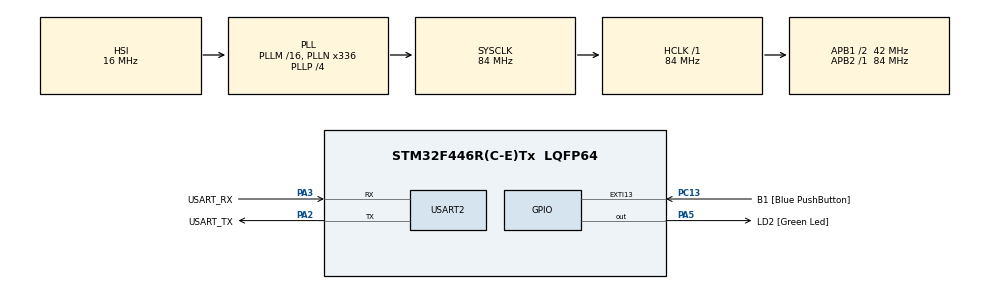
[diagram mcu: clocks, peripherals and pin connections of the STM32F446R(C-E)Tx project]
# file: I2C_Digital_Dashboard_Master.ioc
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Mcu.Family=STM32F4
Mcu.Name=STM32F446R(C-E)Tx
Mcu.Package=LQFP64
NVIC.PriorityGroup=NVIC_PRIORITYGROUP_0
PA13.GPIO_Label=TMS
PA13.Mode=Serial_Wire
PA13.Signal=SYS_JTMS-SWDIO
PA14.GPIO_Label=TCK
PA14.Mode=Serial_Wire
PA14.Signal=SYS_JTCK-SWCLK
PA2.GPIO_Label=USART_TX
PA2.Mode=Asynchronous
PA2.Signal=USART2_TX
PA3.GPIO_Label=USART_RX
PA3.Mode=Asynchronous
PA3.Signal=USART2_RX
PA5.GPIO_Label=LD2 [Green Led]
PA5.Signal=GPIO_Output
PB3.GPIO_Label=SWO
PB3.Signal=SYS_JTDO-SWO
PC13.GPIO_Label=B1 [Blue PushButton]
PC13.GPIO_ModeDefaultEXTI=GPIO_MODE_IT_FALLING
PC13.Signal=GPXTI13
PC14-OSC32_IN.Mode=LSE-External-Oscillator
PC14-OSC32_IN.Signal=RCC_OSC32_IN
PC15-OSC32_OUT.Mode=LSE-External-Oscillator
PC15-OSC32_OUT.Signal=RCC_OSC32_OUT
PH0-OSC_IN.Mode=HSE-External-Oscillator
PH0-OSC_IN.Signal=RCC_OSC_IN
PH1-OSC_OUT.Mode=HSE-External-Oscillator
PH1-OSC_OUT.Signal=RCC_OSC_OUT
ProjectManager.HeapSize=0x200
ProjectManager.StackSize=0x400
ProjectManager.TargetToolchain=STM32CubeIDE
RCC.48MHZClocksFreq_Value=84000000
RCC.AHBFreq_Value=84000000
RCC.APB1CLKDivider=RCC_HCLK_DIV2
RCC.APB1Freq_Value=42000000
RCC.APB1TimFreq_Value=84000000
RCC.APB2Freq_Value=84000000
RCC.APB2TimFreq_Value=84000000
RCC.CortexFreq_Value=84000000
RCC.FLatency-AdvancedSettings=FLASH_LATENCY_2
RCC.HCLKFreq_Value=84000000
RCC.HSE_VALUE=8000000
RCC.HSI_VALUE=16000000
RCC.PLLN=336
RCC.PLLP=RCC_PLLP_DIV4
RCC.SYSCLKFreq_VALUE=84000000
RCC.SYSCLKSource=RCC_SYSCLKSOURCE_PLLCLK
RCC.USBFreq_Value=168000000
RCC.VCOOutputFreq_Value=336000000
USART2.VirtualMode=VM_ASYNC
board=NUCLEO-F446RE

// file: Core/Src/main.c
/* USER CODE BEGIN Header */
/**
  ******************************************************************************
  * @file           : main.c
  * @brief          : Main program body
  ******************************************************************************
  * @attention
  *
  * Copyright (c) 2026 STMicroelectronics.
  * All rights reserved.
  *
  * This software is licensed under terms that can be found in the LICENSE file
  * in the root directory of this software component.
  * If no LICENSE file comes with this software, it is provided AS-IS.
  *
  ******************************************************************************
  */
/* USER CODE END Header */
#include "main.h"

/* USER CODE BEGIN Includes */
#include "stm32f4xx.h"

/* USER CODE END Includes */

/* USER CODE BEGIN PD */
#define SLAVE_ADDRESS 0x12
/* USER CODE END PD */

UART_HandleTypeDef huart2;

void SystemClock_Config(void);
static void MX_GPIO_Init(void);
static void MX_USART2_UART_Init(void);

/* USER CODE BEGIN 0 */
void I2C1_Init(void) {
    // 1. Enable Clocks for GPIOB and I2C1
    RCC->AHB1ENR |= RCC_AHB1ENR_GPIOBEN;
    RCC->APB1ENR |= RCC_APB1ENR_I2C1EN;

    // 2. Configure GPIOB Pins 8 (SCL) and 9 (SDA) for Alternate Function Open-Drain
    GPIOB->MODER &= ~(GPIO_MODER_MODER8 | GPIO_MODER_MODER9);
    GPIOB->MODER |= (GPIO_MODER_MODER8_1 | GPIO_MODER_MODER9_1); // AF mode
    GPIOB->OTYPER |= (GPIO_OTYPER_OT8 | GPIO_OTYPER_OT9);        // Open Drain
    GPIOB->OSPEEDR |= (GPIO_OSPEEDER_OSPEEDR8 | GPIO_OSPEEDER_OSPEEDR9); // High speed
    GPIOB->PUPDR &= ~(GPIO_PUPDR_PUPD8 | GPIO_PUPDR_PUPD9);      // No internal pull-ups (relying on external 4.7k)
    GPIOB->PUPDR |= (GPIO_PUPDR_PUPD8_0 | GPIO_PUPDR_PUPD9_0); // Enables internal pull-ups

    // Set Alternate Function 4 (AF4) for I2C1
    GPIOB->AFR[1] &= ~((0xF << 0) | (0xF << 4));
    GPIOB->AFR[1] |= ((4 << 0) | (4 << 4));

    // 3. Configure I2C1 Peripheral (Assuming 16MHz default HSI Clock)
    I2C1->CR1 |= I2C_CR1_SWRST;
    I2C1->CR1 &= ~I2C_CR1_SWRST;

    I2C1->CR2 &= ~I2C_CR2_FREQ;
    I2C1->CR2 |= 16;              // APB1 freq = 16 MHz

    I2C1->CCR &= ~I2C_CCR_CCR;
    I2C1->CCR |= 80;              // 16MHz / (2 * 100kHz) = 80

    I2C1->TRISE = 17;             // (1000ns / 62.5ns) + 1 = 17

    I2C1->CR1 |= I2C_CR1_PE;      // Enable I2C1
}

void I2C1_WriteByte(uint8_t address, uint8_t data) {
    // 1. Generate START condition
    I2C1->CR1 |= I2C_CR1_START;
    while (!(I2C1->SR1 & I2C_SR1_SB)); // Wait for Start Bit flag

    // 2. Send Slave Address (Shifted left by 1, LSB = 0 for WRITE)
    I2C1->DR = (address << 1) | 0;

    // --- THIS IS THE NEW NACK DETECTOR ---
    // Wait for ADDR (Success) OR AF (Failure/NACK)
    while (!(I2C1->SR1 & I2C_SR1_ADDR)) {
        // Did we get an Acknowledge Failure?
        if (I2C1->SR1 & I2C_SR1_AF) {

            // Clear the AF flag
            I2C1->SR1 &= ~I2C_SR1_AF;

            // Generate a STOP condition to free the bus
            I2C1->CR1 |= I2C_CR1_STOP;

            return; // <--- PUT YOUR BREAKPOINT ON THIS EXACT LINE
        }
    }
    // -------------------------------------

    // Clear ADDR flag by reading SR1, then SR2
    (void)I2C1->SR1;
    (void)I2C1->SR2;

    // 3. Send Data Byte
    I2C1->DR = data;

    // Wait until Transmit Data Register is Empty
    while (!(I2C1->SR1 & I2C_SR1_TXE));

    // Wait until Byte Transfer is Finished
    while (!(I2C1->SR1 & I2C_SR1_BTF));

    // 4. Generate STOP condition to release the bus
    I2C1->CR1 |= I2C_CR1_STOP;
}

// Simple blocking delay
void delay_ms(volatile uint32_t ms) {
    ms = ms * 4000;
    while(ms--) { __NOP(); }
}

/* USER CODE END 0 */

int main(void)
{

  /* MCU Configuration--------------------------------------------------------*/

  /* Reset of all peripherals, Initializes the Flash interface and the Systick. */
  HAL_Init();

  /* USER CODE BEGIN Init */
  I2C1_Init();
  /* USER CODE END Init */

  /* Configure the system clock */
//  SystemClock_Config();

  /* Initialize all configured peripherals */
  MX_GPIO_Init();
  MX_USART2_UART_Init();
  /* USER CODE BEGIN 2 */
  uint8_t segment_data[] = {
		  0x3F, // '0'
          0x06, // '1'
          0x5B, // '2'
          0x4F, // '3'
          0x66  // '4'
  };

  uint8_t index = 0;
  /* USER CODE END 2 */

  /* Infinite loop */
  while (1)
  {
	  // Send the hex byte to the Discovery board
	  I2C1_WriteByte(SLAVE_ADDRESS, segment_data[index]);

	  index++;
	  if (index > 4) {
	      index = 0;
	  }

	  delay_ms(1000); // Send a new number every 1 second
  }
}

void SystemClock_Config(void)
{
  RCC_OscInitTypeDef RCC_OscInitStruct = {0};
  RCC_ClkInitTypeDef RCC_ClkInitStruct = {0};

  /** Configure the main internal regulator output voltage
  */
  __HAL_RCC_PWR_CLK_ENABLE();
  __HAL_PWR_VOLTAGESCALING_CONFIG(PWR_REGULATOR_VOLTAGE_SCALE3);

  /** Initializes the RCC Oscillators according to the specified parameters
  * in the RCC_OscInitTypeDef structure.
  */
  RCC_OscInitStruct.OscillatorType = RCC_OSCILLATORTYPE_HSI;
  RCC_OscInitStruct.HSIState = RCC_HSI_ON;
  RCC_OscInitStruct.HSICalibrationValue = RCC_HSICALIBRATION_DEFAULT;
  RCC_OscInitStruct.PLL.PLLState = RCC_PLL_ON;
  RCC_OscInitStruct.PLL.PLLSource = RCC_PLLSOURCE_HSI;
  RCC_OscInitStruct.PLL.PLLM = 16;
  RCC_OscInitStruct.PLL.PLLN = 336;
  RCC_OscInitStruct.PLL.PLLP = RCC_PLLP_DIV4;
  RCC_OscInitStruct.PLL.PLLQ = 2;
  RCC_OscInitStruct.PLL.PLLR = 2;
  if (HAL_RCC_OscConfig(&RCC_OscInitStruct) != HAL_OK)
  {
    Error_Handler();
  }

  /** Initializes the CPU, AHB and APB buses clocks
  */
  RCC_ClkInitStruct.ClockType = RCC_CLOCKTYPE_HCLK|RCC_CLOCKTYPE_SYSCLK
                              |RCC_CLOCKTYPE_PCLK1|RCC_CLOCKTYPE_PCLK2;
  RCC_ClkInitStruct.SYSCLKSource = RCC_SYSCLKSOURCE_PLLCLK;
  RCC_ClkInitStruct.AHBCLKDivider = RCC_SYSCLK_DIV1;
  RCC_ClkInitStruct.APB1CLKDivider = RCC_HCLK_DIV2;
  RCC_ClkInitStruct.APB2CLKDivider = RCC_HCLK_DIV1;

  if (HAL_RCC_ClockConfig(&RCC_ClkInitStruct, FLASH_LATENCY_2) != HAL_OK)
  {
    Error_Handler();
  }
}

static void MX_USART2_UART_Init(void)
{

  huart2.Instance = USART2;
  huart2.Init.BaudRate = 115200;
  huart2.Init.WordLength = UART_WORDLENGTH_8B;
  huart2.Init.StopBits = UART_STOPBITS_1;
  huart2.Init.Parity = UART_PARITY_NONE;
  huart2.Init.Mode = UART_MODE_TX_RX;
  huart2.Init.HwFlowCtl = UART_HWCONTROL_NONE;
  huart2.Init.OverSampling = UART_OVERSAMPLING_16;
  if (HAL_UART_Init(&huart2) != HAL_OK)
  {
    Error_Handler();
  }

}

static void MX_GPIO_Init(void)
{
  GPIO_InitTypeDef GPIO_InitStruct = {0};

  /* GPIO Ports Clock Enable */
  __HAL_RCC_GPIOC_CLK_ENABLE();
  __HAL_RCC_GPIOH_CLK_ENABLE();
  __HAL_RCC_GPIOA_CLK_ENABLE();
  __HAL_RCC_GPIOB_CLK_ENABLE();

  /*Configure GPIO pin Output Level */
  HAL_GPIO_WritePin(LD2_GPIO_Port, LD2_Pin, GPIO_PIN_RESET);

  /*Configure GPIO pin : B1_Pin */
  GPIO_InitStruct.Pin = B1_Pin;
  GPIO_InitStruct.Mode = GPIO_MODE_IT_FALLING;
  GPIO_InitStruct.Pull = GPIO_NOPULL;
  HAL_GPIO_Init(B1_GPIO_Port, &GPIO_InitStruct);

  /*Configure GPIO pin : LD2_Pin */
  GPIO_InitStruct.Pin = LD2_Pin;
  GPIO_InitStruct.Mode = GPIO_MODE_OUTPUT_PP;
  GPIO_InitStruct.Pull = GPIO_NOPULL;
  GPIO_InitStruct.Speed = GPIO_SPEED_FREQ_LOW;
  HAL_GPIO_Init(LD2_GPIO_Port, &GPIO_InitStruct);

}

void Error_Handler(void)
{
  __disable_irq();
  while (1)
  {
  }
}
